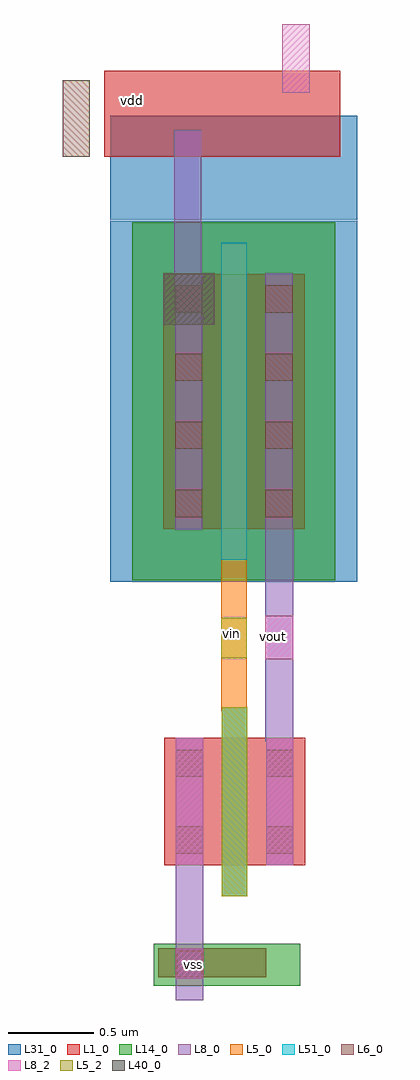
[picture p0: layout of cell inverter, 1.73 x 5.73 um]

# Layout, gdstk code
from math import pi, radians
import gdstk
lib = gdstk.Library(unit=1e-6, precision=5e-09)
def R(c, l, rs):  # rectangles x0, y0, x1, y1
    for r in rs: c.add(gdstk.rectangle(r[:2], r[2:], *l))
def A(c, l, x, y, w, h, nx, ny, dx, dy):  # array of equal rectangles
    R(c, l, [(x+i*dx, y+j*dy, x+i*dx+w, y+j*dy+h) for i in range(nx) for j in range(ny)])
def P(c, l, *ps):  # polygons
    for p in ps: c.add(gdstk.Polygon(p, *l))
L1_0 = (1, 0)
L5_0 = (5, 0)
L5_2 = (5, 2)
L6_0 = (6, 0)
L8_0 = (8, 0)
L8_2 = (8, 2)
L14_0 = (14, 0)
L31_0 = (31, 0)
L40_0 = (40, 0)
L51_0 = (51, 0)

pmos_1 = lib.new_cell('pmos$1')
R(pmos_1, L1_0, [(0,0,0.3,0.3), (0,0,0.83,1.5), (0.53,0,0.83,0.3)])
R(pmos_1, L5_0, [(0.34,-0.18,0.49,1.68), (0.34,-0.18,0.49,1.68)])
A(pmos_1, L6_0, 0.07, 0.07, 0.16, 0.16, 1, 4, 0, 0.4)
A(pmos_1, L6_0, 0.6, 0.07, 0.16, 0.16, 1, 4, 0, 0.4)
R(pmos_1, L8_0, [(0.07,0,0.23,1.5), (0.07,0,0.23,1.5), (0.6,0,0.76,1.5), (0.6,0,0.76,1.5)])
R(pmos_1, L14_0, [(-0.18,-0.3,1.01,1.8)])
R(pmos_1, L31_0, [(-0.31,-0.31,1.14,1.81)])
R(pmos_1, L40_0, [(0.53,0,0.83,0.3)])
R(pmos_1, L51_0, [(0.34,-0.18,0.49,1.68)])
pmos_1.add(gdstk.Label('pmos', (0.415,0.75), layer=63, texttype=0))
pmos_1.add(gdstk.Label('pmos', (0.415,0.75), layer=51, texttype=0))

nmos_1 = lib.new_cell('nmos$1')
R(nmos_1, L1_0, [(0,0,0.3,0.3), (0,0,0.83,0.75), (0.53,0,0.83,0.3)])
R(nmos_1, L5_0, [(0.34,-0.18,0.49,0.93)])
R(nmos_1, L5_2, [(0.34,-0.18,0.49,0.93)])
R(nmos_1, L6_0, [(0.07,0.07,0.23,0.23), (0.6,0.07,0.76,0.23), (0.07,0.52,0.23,0.68), (0.6,0.52,0.76,0.68)])
R(nmos_1, L8_0, [(0.07,0,0.23,0.75), (0.6,0,0.76,0.75)])
R(nmos_1, L8_2, [(0.07,0,0.23,0.75), (0.6,0,0.76,0.75)])
R(nmos_1, L51_0, [(0.34,-0.18,0.49,0.93)])
nmos_1.add(gdstk.Label('nmos', (0.415,0.375), layer=63, texttype=0))
nmos_1.add(gdstk.Label('nmos', (0.415,0.375), layer=51, texttype=0))

inverter = lib.new_cell('inverter')
R(inverter, L1_0, [(-1.19,-1.615,-0.555,-1.445), (-1.505,3.2,-0.12,3.705)])
R(inverter, L5_0, [(-0.82,-0.055,-0.67,0.835)])
R(inverter, L5_2, [(-0.82,0.255,-0.67,0.495)])
R(inverter, L6_0, [(-1.08,-1.615,-0.93,-1.46), (-1.75,3.2,-1.59,3.65)])
R(inverter, L8_0, [(-1.085,-1.75,-0.925,-0.96), (-0.56,-0.235,-0.395,1.015), (-1.095,2.44,-0.935,3.355)])
P(inverter, L8_0, [(-1.085,-0.96),(-1.085,-0.96),(-0.925,-0.96),(-0.925,-0.96)])
R(inverter, L8_2, [(-1.085,-1.625,-0.925,-1.45), (-0.56,0.25,-0.395,0.505), (-0.46,3.575,-0.3,3.98)])
R(inverter, L14_0, [(-1.215,-1.665,-0.355,-1.42)])
R(inverter, L31_0, [(-1.47,2.83,-0.02,3.44)])
inverter.add(gdstk.Reference(pmos_1, (-0.33,2.515), rotation=pi))
inverter.add(gdstk.Reference(nmos_1, (-0.325,-0.21), rotation=pi))
inverter.add(gdstk.Label('vdd', (-1.34,3.53), layer=8, texttype=2))
inverter.add(gdstk.Label('vout', (-0.51,0.385), layer=8, texttype=2))
inverter.add(gdstk.Label('vss', (-0.98,-1.54), layer=8, texttype=2))
inverter.add(gdstk.Label('vin', (-0.76,0.4), layer=5, texttype=2))

lib.write_gds('inverter.gds')
